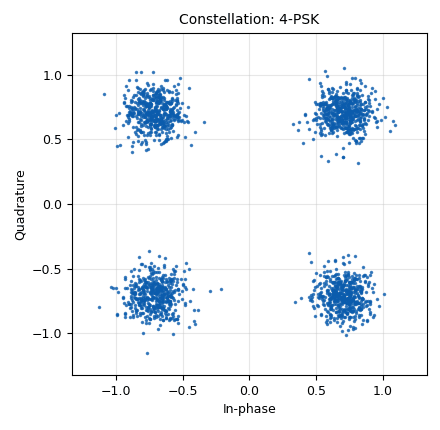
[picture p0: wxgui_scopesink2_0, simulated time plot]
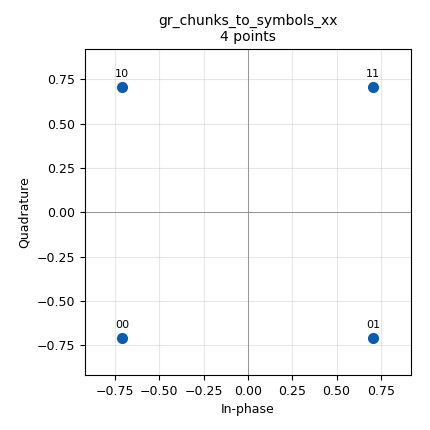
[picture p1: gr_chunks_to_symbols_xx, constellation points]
<?xml version='1.0' encoding='utf-8'?>
<flow_graph>
<block>
<key>options</key>
<param><key>id</key><value>ber_simulation</value></param>
<param><key>title</key><value>BER Simulation</value></param>
<param><key>author</key><value>Example</value></param>
<param><key>description</key><value>Adjust the noise and constellation... see what happens!</value></param>
<param><key>generate_options</key><value>wx_gui</value></param>
<param><key>category</key><value>Custom</value></param>
</block>
<block>
<key>gr_throttle</key>
<param><key>id</key><value>gr_throttle</value></param>
<param><key>type</key><value>byte</value></param>
<param><key>samples_per_second</key><value>samp_rate</value></param>
<param><key>vlen</key><value>1</value></param>
</block>
<block>
<key>gr_add_xx</key>
<param><key>id</key><value>gr_add_xx</value></param>
<param><key>type</key><value>complex</value></param>
<param><key>num_inputs</key><value>2</value></param>
<param><key>vlen</key><value>1</value></param>
</block>
<block>
<key>wxgui_numbersink2</key>
<param><key>id</key><value>wxgui_numbersink2</value></param>
<param><key>type</key><value>float</value></param>
<param><key>title</key><value>BER</value></param>
<param><key>units</key><value>%</value></param>
<param><key>samp_rate</key><value>samp_rate</value></param>
<param><key>min_value</key><value>0.0</value></param>
<param><key>max_value</key><value>1.0</value></param>
<param><key>factor</key><value>100</value></param>
<param><key>decimal_places</key><value>4</value></param>
<param><key>ref_level</key><value>0</value></param>
<param><key>number_rate</key><value>15</value></param>
<param><key>peak_hold</key><value>False</value></param>
<param><key>average</key><value>False</value></param>
<param><key>avg_alpha</key><value>0</value></param>
<param><key>show_gauge</key><value>False</value></param>
<param><key>grid_pos</key><value>1, 0, 1, 1</value></param>
</block>
<block>
<key>import</key>
<param><key>id</key><value>import</value></param>
<param><key>import</key><value>import math</value></param>
</block>
<block>
<key>variable_slider</key>
<param><key>id</key><value>EbN0</value></param>
<param><key>label</key><value>Eb/N0 (dB)</value></param>
<param><key>value</key><value>10</value></param>
<param><key>min</key><value>-10</value></param>
<param><key>max</key><value>200</value></param>
<param><key>num_steps</key><value>211</value></param>
<param><key>style</key><value>wx.SL_HORIZONTAL</value></param>
<param><key>converver</key><value>float_converter</value></param>
</block>
<block>
<key>variable</key>
<param><key>id</key><value>const</value></param>
<param><key>value</key><value>(digital.constellation_bpsk(), digital.constellation_qpsk(), digital.constellation_8psk())</value></param>
</block>
<block>
<key>random_source_x</key>
<param><key>id</key><value>random_source_x</value></param>
<param><key>type</key><value>byte</value></param>
<param><key>min</key><value>0</value></param>
<param><key>max</key><value>const[const_type].arity()</value></param>
<param><key>num_samps</key><value>10000000</value></param>
<param><key>repeat</key><value>True</value></param>
</block>
<block>
<key>gr_noise_source_x</key>
<param><key>id</key><value>gr_noise_source_x</value></param>
<param><key>type</key><value>complex</value></param>
<param><key>noise_type</key><value>gr.GR_GAUSSIAN</value></param>
<param><key>amp</key><value>1.0 / math.sqrt(2.0 * const[const_type].bits_per_symbol() * 10**(EbN0/10))</value></param>
<param><key>seed</key><value>42</value></param>
</block>
<block>
<key>gr_chunks_to_symbols_xx</key>
<param><key>id</key><value>gr_chunks_to_symbols_xx</value></param>
<param><key>in_type</key><value>byte</value></param>
<param><key>out_type</key><value>complex</value></param>
<param><key>symbol_table</key><value>const[const_type].points()</value></param>
<param><key>dimension</key><value>1</value></param>
<param><key>num_ports</key><value>1</value></param>
</block>
<block>
<key>blks2_error_rate</key>
<param><key>id</key><value>blks2_error_rate</value></param>
<param><key>type</key><value>'BER'</value></param>
<param><key>win_size</key><value>int(1e7)</value></param>
<param><key>bits_per_symbol</key><value>const[const_type].bits_per_symbol()</value></param>
</block>
<block>
<key>digital_constellation_decoder_cb</key>
<param><key>id</key><value>digital_constellation_decoder_cb_0</value></param>
<param><key>constellation</key><value>const[const_type].base()</value></param>
</block>
<block>
<key>wxgui_scopesink2</key>
<param><key>id</key><value>wxgui_scopesink2_0</value></param>
<param><key>type</key><value>complex</value></param>
<param><key>title</key><value>"Constellation: "+str(const[const_type].arity()) + "-PSK"</value></param>
<param><key>samp_rate</key><value>samp_rate</value></param>
<param><key>v_scale</key><value>0</value></param>
<param><key>v_offset</key><value>0</value></param>
<param><key>t_scale</key><value>0</value></param>
<param><key>ac_couple</key><value>False</value></param>
<param><key>xy_mode</key><value>True</value></param>
<param><key>num_inputs</key><value>1</value></param>
<param><key>grid_pos</key><value>2, 0, 1, 1</value></param>
<param><key>trig_mode</key><value>gr.gr_TRIG_MODE_AUTO</value></param>
<param><key>y_axis_label</key><value>Counts</value></param>
</block>
<block>
<key>variable</key>
<param><key>id</key><value>samp_rate</value></param>
<param><key>value</key><value>100e3</value></param>
</block>
<block>
<key>variable</key>
<param><key>id</key><value>const_type</value></param>
<param><key>value</key><value>1</value></param>
</block>
<block>
<key>variable_static_text</key>
<param><key>id</key><value>variable_static_text_0</value></param>
<param><key>label</key><value>Constellation Type</value></param>
<param><key>value</key><value>{0: 'BPSK', 1: 'QPSK', 2: '8-PSK'}[const_type] + " - Change const_type for different constellation types!"</value></param>
<param><key>converver</key><value>str_converter</value></param>
<param><key>formatter</key><value>None</value></param>
</block>
<connection><source_block_id>blks2_error_rate</source_block_id><sink_block_id>wxgui_numbersink2</sink_block_id><source_key>0</source_key><sink_key>0</sink_key></connection>
<connection><source_block_id>gr_throttle</source_block_id><sink_block_id>blks2_error_rate</sink_block_id><source_key>0</source_key><sink_key>0</sink_key></connection>
<connection><source_block_id>gr_chunks_to_symbols_xx</source_block_id><sink_block_id>gr_add_xx</sink_block_id><source_key>0</source_key><sink_key>0</sink_key></connection>
<connection><source_block_id>gr_noise_source_x</source_block_id><sink_block_id>gr_add_xx</sink_block_id><source_key>0</source_key><sink_key>1</sink_key></connection>
<connection><source_block_id>random_source_x</source_block_id><sink_block_id>gr_throttle</sink_block_id><source_key>0</source_key><sink_key>0</sink_key></connection>
<connection><source_block_id>random_source_x</source_block_id><sink_block_id>gr_chunks_to_symbols_xx</sink_block_id><source_key>0</source_key><sink_key>0</sink_key></connection>
<connection><source_block_id>gr_add_xx</source_block_id><sink_block_id>wxgui_scopesink2_0</sink_block_id><source_key>0</source_key><sink_key>0</sink_key></connection>
<connection><source_block_id>digital_constellation_decoder_cb_0</source_block_id><sink_block_id>blks2_error_rate</sink_block_id><source_key>0</source_key><sink_key>1</sink_key></connection>
<connection><source_block_id>gr_add_xx</source_block_id><sink_block_id>digital_constellation_decoder_cb_0</sink_block_id><source_key>0</source_key><sink_key>0</sink_key></connection>
</flow_graph>
